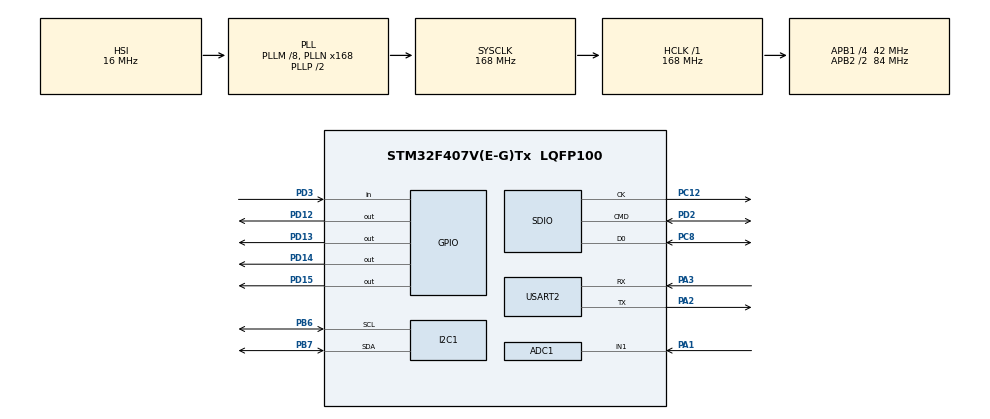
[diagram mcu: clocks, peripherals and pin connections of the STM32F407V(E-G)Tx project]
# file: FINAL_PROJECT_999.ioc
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ADC1.Channel-1\#ChannelRegularConversion=ADC_CHANNEL_1
ADC1.NbrOfConversionFlag=1
ADC1.Rank-1\#ChannelRegularConversion=1
ADC1.SamplingTime-1\#ChannelRegularConversion=ADC_SAMPLETIME_3CYCLES
ADC1.master=1
Dma.Request0=SDIO_RX
Dma.Request1=SDIO_TX
Dma.SDIO_RX.0.Direction=DMA_PERIPH_TO_MEMORY
Dma.SDIO_RX.0.FIFOMode=DMA_FIFOMODE_ENABLE
Dma.SDIO_RX.0.FIFOThreshold=DMA_FIFO_THRESHOLD_FULL
Dma.SDIO_RX.0.Instance=DMA2_Stream3
Dma.SDIO_RX.0.MemBurst=DMA_MBURST_INC4
Dma.SDIO_RX.0.MemDataAlignment=DMA_MDATAALIGN_WORD
Dma.SDIO_RX.0.MemInc=DMA_MINC_ENABLE
Dma.SDIO_RX.0.Mode=DMA_PFCTRL
Dma.SDIO_RX.0.PeriphBurst=DMA_PBURST_INC4
Dma.SDIO_RX.0.PeriphDataAlignment=DMA_PDATAALIGN_WORD
Dma.SDIO_RX.0.PeriphInc=DMA_PINC_DISABLE
Dma.SDIO_RX.0.Priority=DMA_PRIORITY_LOW
Dma.SDIO_TX.1.Direction=DMA_MEMORY_TO_PERIPH
Dma.SDIO_TX.1.FIFOMode=DMA_FIFOMODE_ENABLE
Dma.SDIO_TX.1.FIFOThreshold=DMA_FIFO_THRESHOLD_FULL
Dma.SDIO_TX.1.Instance=DMA2_Stream6
Dma.SDIO_TX.1.MemBurst=DMA_MBURST_INC4
Dma.SDIO_TX.1.MemDataAlignment=DMA_MDATAALIGN_WORD
Dma.SDIO_TX.1.MemInc=DMA_MINC_ENABLE
Dma.SDIO_TX.1.Mode=DMA_PFCTRL
Dma.SDIO_TX.1.PeriphBurst=DMA_PBURST_INC4
Dma.SDIO_TX.1.PeriphDataAlignment=DMA_PDATAALIGN_WORD
Dma.SDIO_TX.1.PeriphInc=DMA_PINC_DISABLE
Dma.SDIO_TX.1.Priority=DMA_PRIORITY_LOW
FATFS._MAX_SS=4096
FATFS._USE_LFN=3
Mcu.Family=STM32F4
Mcu.Name=STM32F407V(E-G)Tx
Mcu.Package=LQFP100
NVIC.DMA2_Stream3_IRQn=true\:0\:0\:false\:false\:true\:false\:true\:true
NVIC.DMA2_Stream6_IRQn=true\:0\:0\:false\:false\:true\:false\:true\:true
NVIC.PriorityGroup=NVIC_PRIORITYGROUP_0
PA1.Signal=ADCx_IN1
PA2.Mode=Asynchronous
PA2.Signal=USART2_TX
PA3.Mode=Asynchronous
PA3.Signal=USART2_RX
PB6.Mode=I2C
PB6.Signal=I2C1_SCL
PB7.Mode=I2C
PB7.Signal=I2C1_SDA
PC12.Mode=SD_1_bit
PC12.Signal=SDIO_CK
PC8.Mode=SD_1_bit
PC8.Signal=SDIO_D0
PD12.Signal=GPIO_Output
PD13.Signal=GPIO_Output
PD14.Signal=GPIO_Output
PD15.Signal=GPIO_Output
PD2.Mode=SD_1_bit
PD2.Signal=SDIO_CMD
PD3.Signal=GPIO_Input
PH0-OSC_IN.Mode=HSE-External-Oscillator
PH0-OSC_IN.Signal=RCC_OSC_IN
PH1-OSC_OUT.Mode=HSE-External-Oscillator
PH1-OSC_OUT.Signal=RCC_OSC_OUT
ProjectManager.HeapSize=0x200
ProjectManager.StackSize=0x400
ProjectManager.TargetToolchain=STM32CubeIDE
RCC.48MHZClocksFreq_Value=48000000
RCC.AHBFreq_Value=168000000
RCC.APB1CLKDivider=RCC_HCLK_DIV4
RCC.APB1Freq_Value=42000000
RCC.APB1TimFreq_Value=84000000
RCC.APB2CLKDivider=RCC_HCLK_DIV2
RCC.APB2Freq_Value=84000000
RCC.APB2TimFreq_Value=168000000
RCC.CortexFreq_Value=168000000
RCC.HCLKFreq_Value=168000000
RCC.HSE_VALUE=8000000
RCC.HSI_VALUE=16000000
RCC.LSE_VALUE=32768
RCC.PLLM=8
RCC.PLLN=168
RCC.PLLQ=7
RCC.SYSCLKFreq_VALUE=168000000
RCC.SYSCLKSource=RCC_SYSCLKSOURCE_PLLCLK
RCC.VCOOutputFreq_Value=336000000
SH.ADCx_IN1.0=ADC1_IN1,IN1
USART2.VirtualMode=VM_ASYNC
VP_FATFS_VS_SDIO.Mode=SDIO
board=STM32F407G-DISC1

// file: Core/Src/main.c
/* USER CODE BEGIN Header */
/**
  ******************************************************************************
  * @file           : main.c
  * @brief          : Potentiometre + NanoEdge AI + LCD I2C + Log SD (clair) +
  *                    Chiffrement AES-128-CBC en continu -> fichier .hex
  ******************************************************************************
  */
/* USER CODE END Header */
#include "main.h"
#include "fatfs.h"
#include "lcd_i2c.h"
#include "NanoEdgeAI.h"
#include "aes.h"
#include <stdio.h>
#include <string.h>

#define FILENAME         "LOG_CSF.txt"   /* log en clair, ne change pas   */
#define ENC_FILENAME     "ENC_LOG.hex"   /* nouveau fichier chiffre       */
#define NEAI_BUFFER_SIZE 8
#define ENC_MSG_MAXLEN   80               /* taille max du message avant padding */
#define CSF_DEBUG

/* Cle AES 128 bits - A CHANGER pour ton projet, et la MEME cle doit etre
   utilisee cote Python pour dechiffrer */
static const uint8_t aes_key[16] = {
    0x00,0x01,0x02,0x03,0x04,0x05,0x06,0x07,
    0x08,0x09,0x0A,0x0B,0x0C,0x0D,0x0E,0x0F
};

ADC_HandleTypeDef  hadc1;
I2C_HandleTypeDef  hi2c1;
SD_HandleTypeDef   hsd;
DMA_HandleTypeDef  hdma_sdio_rx;
DMA_HandleTypeDef  hdma_sdio_tx;
UART_HandleTypeDef huart2;

static const char *class_labels[] = {
    "ARYTHMIE",
    "BRADYCARDIE",
    "NORMAL",
    "TACHYCARDIE"
};

static float    input_buffer[NEAI_BUFFER_SIZE];
static float    output_class[4];
static uint16_t buf_index = 0;
static uint32_t sample_counter = 0;

void SystemClock_Config(void);
static void MX_GPIO_Init(void);
static void MX_DMA_Init(void);
static void MX_SDIO_SD_Init(void);
static void MX_USART2_UART_Init(void);
static void MX_ADC1_Init(void);
static void MX_I2C1_Init(void);

static float read_adc_float(void);
static void  sd_log_line(const char *line);
static void  uart_send(const char *line);
static void  generate_iv(uint8_t *iv);
static void  bytes_to_hex(const uint8_t *data, uint32_t len, char *out);
static void  encrypt_and_log(const char *plaintext);

/* USER CODE BEGIN 0 */
static float read_adc_float(void)
{
    HAL_ADC_Start(&hadc1);
    HAL_ADC_PollForConversion(&hadc1, 100);
    uint32_t raw = HAL_ADC_GetValue(&hadc1);
    HAL_ADC_Stop(&hadc1);
    return (float)raw;
}

/* Ecrit une ligne en clair a la fin du fichier LOG_CSF.txt (inchange) */
static void sd_log_line(const char *line)
{
    UINT bw;
    if (f_open(&SDFile, FILENAME, FA_OPEN_APPEND | FA_WRITE) != FR_OK)
    {
#ifdef CSF_DEBUG
        uart_send("Erreur ouverture fichier SD (log)\n");
#endif
        return;
    }
    f_write(&SDFile, line, strlen(line), &bw);
    f_close(&SDFile);
}

static void uart_send(const char *line)
{
    HAL_UART_Transmit(&huart2, (uint8_t*)line, strlen(line), 100);
}

/* Genere un IV de 16 octets a partir du tick systeme + compteur.
   NOTE: ce n'est pas un generateur cryptographiquement sur, mais il garantit
   un IV different a chaque appui, ce qui est le minimum requis pour CBC. */
static void generate_iv(uint8_t *iv)
{
    uint32_t tick = HAL_GetTick();
    uint32_t cnt  = sample_counter;

    for (int i = 0; i < 4; i++) iv[i]     = (uint8_t)(tick >> (i * 8));
    for (int i = 0; i < 4; i++) iv[4 + i] = (uint8_t)(cnt  >> (i * 8));
    for (int i = 8; i < 16; i++) iv[i]    = (uint8_t)(0xA5 ^ i ^ (tick >> (i % 4)));
}

static void bytes_to_hex(const uint8_t *data, uint32_t len, char *out)
{
    static const char hexchars[] = "0123456789ABCDEF";
    for (uint32_t i = 0; i < len; i++)
    {
        out[i * 2]     = hexchars[(data[i] >> 4) & 0x0F];
        out[i * 2 + 1] = hexchars[data[i] & 0x0F];
    }
    out[len * 2] = '\0';
}

/* Chiffre "plaintext" en AES-128-CBC (avec padding PKCS7) et ecrit une ligne
   "IV_hex:CIPHER_hex\n" a la fin du fichier ENC_LOG.hex. Chaque appel est
   independant (IV propre), donc chaque ligne peut etre dechiffree seule. */
static void encrypt_and_log(const char *plaintext)
{
    struct AES_ctx ctx;
    uint8_t  iv[AES_BLOCKLEN];
    uint8_t  buf[ENC_MSG_MAXLEN + AES_BLOCKLEN];
    char     hex_iv[AES_BLOCKLEN * 2 + 1];
    char     hex_cipher[sizeof(buf) * 2 + 1];
    char     line[400];
    UINT     bw;

    uint32_t msg_len = (uint32_t)strlen(plaintext);
    if (msg_len > ENC_MSG_MAXLEN) msg_len = ENC_MSG_MAXLEN; /* garde-fou */

    uint32_t padded_len = ((msg_len / AES_BLOCKLEN) + 1) * AES_BLOCKLEN; /* PKCS7: toujours >= 1 octet de pad */
    uint8_t  pad_val = (uint8_t)(padded_len - msg_len);

    memset(buf, 0, sizeof(buf));
    memcpy(buf, plaintext, msg_len);
    for (uint32_t i = msg_len; i < padded_len; i++)
    {
        buf[i] = pad_val;
    }

    generate_iv(iv);
    AES_init_ctx_iv(&ctx, aes_key, iv);
    AES_CBC_encrypt_buffer(&ctx, buf, padded_len);

    bytes_to_hex(iv, AES_BLOCKLEN, hex_iv);
    bytes_to_hex(buf, padded_len, hex_cipher);

    snprintf(line, sizeof(line), "%s:%s\n", hex_iv, hex_cipher);

    if (f_open(&SDFile, ENC_FILENAME, FA_OPEN_APPEND | FA_WRITE) == FR_OK)
    {
        f_write(&SDFile, line, strlen(line), &bw);
        f_close(&SDFile);
#ifdef CSF_DEBUG
        uart_send("Ligne chiffree ecrite\n");
#endif
    }
#ifdef CSF_DEBUG
    else
    {
        uart_send("Erreur ouverture fichier ENC\n");
    }
#endif
}

/* USER CODE END 0 */

int main(void)
{
    char line0[17];
    char line1[17];
    char log_buf[80];
    uint8_t best_class = 0;
    uint32_t voltage_mv;

    HAL_Init();
    SystemClock_Config();

    MX_GPIO_Init();
    MX_DMA_Init();
    MX_SDIO_SD_Init();
    MX_FATFS_Init();
    MX_USART2_UART_Init();
    MX_ADC1_Init();
    MX_I2C1_Init();

    /* --- Init LCD en PREMIER : meme si la SD plante ensuite, on aura un
       retour visuel au lieu d'un ecran noir --- */
    LCD_Init(&hi2c1);
    LCD_Clear();
    LCD_SetCursor(0, 0);
    LCD_Print("  Cardiac  AI   ");
    LCD_SetCursor(0, 1);
    LCD_Print(" Initializing...");
    HAL_Delay(1000);

    /* --- Init carte SD --- */
    if (HAL_SD_Init(&hsd) != HAL_OK)
    {
        LCD_Clear();
        LCD_SetCursor(0, 0);
        LCD_Print("SD INIT ERROR!  ");
        Error_Handler();
    }

    if (f_mount(&SDFatFS, (TCHAR const*) SDPath, 0) != FR_OK)
    {
        LCD_Clear();
        LCD_SetCursor(0, 0);
        LCD_Print("SD MOUNT ERROR! ");
#ifdef CSF_DEBUG
        uart_send("Impossible de monter le disque\n");
#endif
        Error_Handler();
    }

    /* --- Init NanoEdge AI --- */
    if (neai_classification_init() != NEAI_OK)
    {
        LCD_Clear();
        LCD_SetCursor(0, 0);
        LCD_Print("NEAI INIT ERROR!");
        Error_Handler();
    }

    LCD_Clear();
    LCD_SetCursor(0, 0);
    LCD_Print("  Cardiac  AI   ");
    LCD_SetCursor(0, 1);
    LCD_Print("  Ready!        ");
    HAL_Delay(800);

    snprintf(log_buf, sizeof(log_buf), "\n--- Nouvelle session ---\n");
    sd_log_line(log_buf);

    /* Infinite loop */
    while (1)
    {
        /* --- Lecture potentiometre --- */
        float sample = read_adc_float();
        input_buffer[buf_index++] = sample;
        sample_counter++;

        voltage_mv  = (uint32_t)(sample * 3300.0f / 4095.0f);

        LCD_SetCursor(0, 0);
        snprintf(line0, sizeof(line0), "ADC:%4d V:%4lumV", (int)sample, voltage_mv);
        LCD_Print(line0);
        LCD_SetCursor(0, 1);
        snprintf(line1, sizeof(line1), "Collecting %d/8  ", buf_index);
        LCD_Print(line1);

        /* Log brut en clair sur SD (inchange) */
        snprintf(log_buf, sizeof(log_buf), "N:%lu,ADC:%d,V:%lumV\n",
                 sample_counter, (int)sample, voltage_mv);
        sd_log_line(log_buf);

        /* Chiffrement automatique de la meme donnee -> fichier .hex */
        encrypt_and_log(log_buf);

        /* Envoi UART vers ESP32 */
        snprintf(log_buf, sizeof(log_buf), "ADC:%d\n", (int)sample);
        uart_send(log_buf);

        if (buf_index < NEAI_BUFFER_SIZE)
        {
            HAL_Delay(50);
            continue;
        }

        /* Buffer plein -> classification */
        buf_index = 0;
        neai_classification(input_buffer, output_class, &best_class);
        uint8_t confidence = (uint8_t)(output_class[best_class] * 100.0f);

        LCD_Clear();
        LCD_SetCursor(0, 0);
        snprintf(line0, sizeof(line0), "%-16s", class_labels[best_class]);
        LCD_Print(line0);
        LCD_SetCursor(0, 1);
        snprintf(line1, sizeof(line1), "Conf: %3d%%       ", confidence);
        LCD_Print(line1);

        snprintf(log_buf, sizeof(log_buf), "CLASS:%s,CONF:%d\n",
                 class_labels[best_class], confidence);
        sd_log_line(log_buf);

        /* Chiffrement automatique de la meme donnee -> fichier .hex */
        encrypt_and_log(log_buf);

        snprintf(log_buf, sizeof(log_buf), "CLASS:%s:CONF:%d\n",
                 class_labels[best_class], confidence);
        uart_send(log_buf);

        HAL_Delay(1000);
    }
}

void SystemClock_Config(void)
{
    RCC_OscInitTypeDef RCC_OscInitStruct = {0};
    RCC_ClkInitTypeDef RCC_ClkInitStruct = {0};

    __HAL_RCC_PWR_CLK_ENABLE();
    __HAL_PWR_VOLTAGESCALING_CONFIG(PWR_REGULATOR_VOLTAGE_SCALE1);

    RCC_OscInitStruct.OscillatorType = RCC_OSCILLATORTYPE_HSI;
    RCC_OscInitStruct.HSIState = RCC_HSI_ON;
    RCC_OscInitStruct.HSICalibrationValue = RCC_HSICALIBRATION_DEFAULT;
    RCC_OscInitStruct.PLL.PLLState = RCC_PLL_ON;
    RCC_OscInitStruct.PLL.PLLSource = RCC_PLLSOURCE_HSI;
    RCC_OscInitStruct.PLL.PLLM = 8;
    RCC_OscInitStruct.PLL.PLLN = 168;
    RCC_OscInitStruct.PLL.PLLP = RCC_PLLP_DIV2;
    RCC_OscInitStruct.PLL.PLLQ = 7;
    if (HAL_RCC_OscConfig(&RCC_OscInitStruct) != HAL_OK)
    {
        Error_Handler();
    }

    RCC_ClkInitStruct.ClockType = RCC_CLOCKTYPE_HCLK | RCC_CLOCKTYPE_SYSCLK
                                 | RCC_CLOCKTYPE_PCLK1 | RCC_CLOCKTYPE_PCLK2;
    RCC_ClkInitStruct.SYSCLKSource = RCC_SYSCLKSOURCE_PLLCLK;
    RCC_ClkInitStruct.AHBCLKDivider = RCC_SYSCLK_DIV1;
    RCC_ClkInitStruct.APB1CLKDivider = RCC_HCLK_DIV4;
    RCC_ClkInitStruct.APB2CLKDivider = RCC_HCLK_DIV2;

    if (HAL_RCC_ClockConfig(&RCC_ClkInitStruct, FLASH_LATENCY_5) != HAL_OK)
    {
        Error_Handler();
    }
}

static void MX_ADC1_Init(void)
{
    ADC_ChannelConfTypeDef sConfig = {0};

    hadc1.Instance = ADC1;
    hadc1.Init.ClockPrescaler = ADC_CLOCK_SYNC_PCLK_DIV2;
    hadc1.Init.Resolution = ADC_RESOLUTION_12B;
    hadc1.Init.ScanConvMode = DISABLE;
    hadc1.Init.ContinuousConvMode = DISABLE;
    hadc1.Init.DiscontinuousConvMode = DISABLE;
    hadc1.Init.ExternalTrigConvEdge = ADC_EXTERNALTRIGCONVEDGE_NONE;
    hadc1.Init.ExternalTrigConv = ADC_SOFTWARE_START;
    hadc1.Init.DataAlign = ADC_DATAALIGN_RIGHT;
    hadc1.Init.NbrOfConversion = 1;
    hadc1.Init.DMAContinuousRequests = DISABLE;
    hadc1.Init.EOCSelection = ADC_EOC_SINGLE_CONV;
    if (HAL_ADC_Init(&hadc1) != HAL_OK)
    {
        Error_Handler();
    }

    sConfig.Channel = ADC_CHANNEL_1;   /* PA1 - a adapter selon ton branchement */
    sConfig.Rank = 1;
    sConfig.SamplingTime = ADC_SAMPLETIME_3CYCLES;
    if (HAL_ADC_ConfigChannel(&hadc1, &sConfig) != HAL_OK)
    {
        Error_Handler();
    }
}

static void MX_I2C1_Init(void)
{
    hi2c1.Instance = I2C1;
    hi2c1.Init.ClockSpeed = 100000;
    hi2c1.Init.DutyCycle = I2C_DUTYCYCLE_2;
    hi2c1.Init.OwnAddress1 = 0;
    hi2c1.Init.AddressingMode = I2C_ADDRESSINGMODE_7BIT;
    hi2c1.Init.DualAddressMode = I2C_DUALADDRESS_DISABLE;
    hi2c1.Init.OwnAddress2 = 0;
    hi2c1.Init.GeneralCallMode = I2C_GENERALCALL_DISABLE;
    hi2c1.Init.NoStretchMode = I2C_NOSTRETCH_DISABLE;
    if (HAL_I2C_Init(&hi2c1) != HAL_OK)
    {
        Error_Handler();
    }
}

static void MX_SDIO_SD_Init(void)
{
    hsd.Instance = SDIO;
    hsd.Init.ClockEdge = SDIO_CLOCK_EDGE_RISING;
    hsd.Init.ClockBypass = SDIO_CLOCK_BYPASS_DISABLE;
    hsd.Init.ClockPowerSave = SDIO_CLOCK_POWER_SAVE_DISABLE;
    hsd.Init.BusWide = SDIO_BUS_WIDE_1B;
    hsd.Init.HardwareFlowControl = SDIO_HARDWARE_FLOW_CONTROL_DISABLE;
    hsd.Init.ClockDiv = 0;
}

static void MX_USART2_UART_Init(void)
{
    huart2.Instance = USART2;
    huart2.Init.BaudRate = 115200;
    huart2.Init.WordLength = UART_WORDLENGTH_8B;
    huart2.Init.StopBits = UART_STOPBITS_1;
    huart2.Init.Parity = UART_PARITY_NONE;
    huart2.Init.Mode = UART_MODE_TX_RX;
    huart2.Init.HwFlowCtl = UART_HWCONTROL_NONE;
    huart2.Init.OverSampling = UART_OVERSAMPLING_16;
    if (HAL_UART_Init(&huart2) != HAL_OK)
    {
        Error_Handler();
    }
}

static void MX_DMA_Init(void)
{
    __HAL_RCC_DMA2_CLK_ENABLE();

    HAL_NVIC_SetPriority(DMA2_Stream3_IRQn, 0, 0);
    HAL_NVIC_EnableIRQ(DMA2_Stream3_IRQn);

    HAL_NVIC_SetPriority(DMA2_Stream6_IRQn, 0, 0);
    HAL_NVIC_EnableIRQ(DMA2_Stream6_IRQn);
}

static void MX_GPIO_Init(void)
{
    GPIO_InitTypeDef GPIO_InitStruct = {0};

    __HAL_RCC_GPIOH_CLK_ENABLE();
    __HAL_RCC_GPIOA_CLK_ENABLE();
    __HAL_RCC_GPIOB_CLK_ENABLE();
    __HAL_RCC_GPIOD_CLK_ENABLE();
    __HAL_RCC_GPIOC_CLK_ENABLE();

    HAL_GPIO_WritePin(GPIOD, GPIO_PIN_12 | GPIO_PIN_13 | GPIO_PIN_14 | GPIO_PIN_15, GPIO_PIN_RESET);

    GPIO_InitStruct.Pin = GPIO_PIN_12 | GPIO_PIN_13 | GPIO_PIN_14 | GPIO_PIN_15;
    GPIO_InitStruct.Mode = GPIO_MODE_OUTPUT_PP;
    GPIO_InitStruct.Pull = GPIO_NOPULL;
    GPIO_InitStruct.Speed = GPIO_SPEED_FREQ_LOW;
    HAL_GPIO_Init(GPIOD, &GPIO_InitStruct);
}

void Error_Handler(void)
{
    __disable_irq();
    HAL_GPIO_WritePin(GPIOD, GPIO_PIN_14, GPIO_PIN_SET);
    while (1)
    {
    }
}
